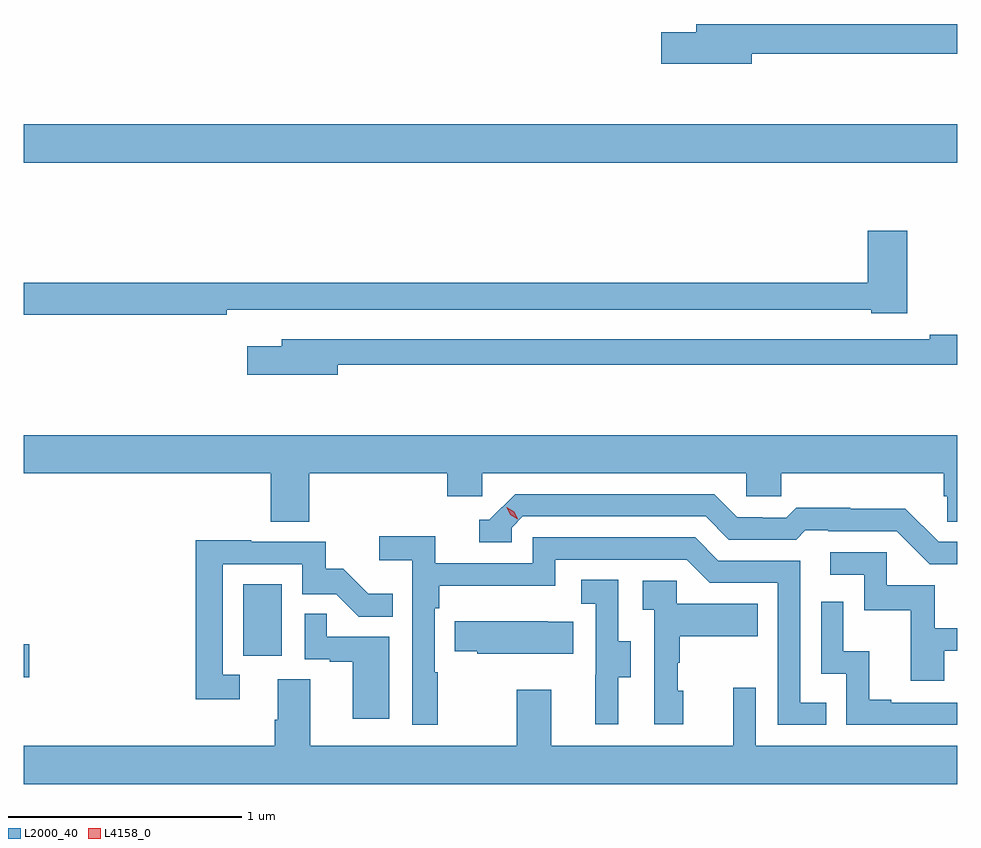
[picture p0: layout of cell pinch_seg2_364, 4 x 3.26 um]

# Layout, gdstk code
import gdstk
lib = gdstk.Library(unit=1e-6, precision=1e-09)
def R(c, l, rs):  # rectangles x0, y0, x1, y1
    for r in rs: c.add(gdstk.rectangle(r[:2], r[2:], *l))
def P(c, l, *ps):  # polygons
    for p in ps: c.add(gdstk.Polygon(p, *l))
L2000_40 = (2000, 40)
L4158_0 = (4158, 0)

pinch_seg2_364 = lib.new_cell('pinch_seg2_364')
R(pinch_seg2_364, L2000_40, [(1007.757,612.13,1007.779,612.272), (1008.698,612.222,1008.862,612.529), (1007.757,614.336,1011.757,614.5)])
P(pinch_seg2_364, L2000_40, [(1010.878,614.802),(1011.757,614.802),(1011.757,614.93),(1010.639,614.93),(1010.639,614.894),(1010.49,614.894),(1010.49,614.759),(1010.878,614.759)],
  [(1008.626,613.704),(1011.39,613.704),(1011.39,613.691),(1011.544,613.691),(1011.544,614.044),(1011.374,614.044),(1011.374,613.82),(1007.757,613.82),(1007.757,613.684),(1008.626,613.684)],
  [(1009.102,613.47),(1011.757,613.47),(1011.757,613.598),(1011.64,613.598),(1011.64,613.578),(1008.863,613.578),(1008.863,613.549),(1008.714,613.549),(1008.714,613.427),(1009.102,613.427)],
  [(1008.98,613.004),(1009.571,613.004),(1009.571,612.906),(1009.722,612.906),(1009.722,613.004),(1010.853,613.004),(1010.853,612.906),(1011.003,612.906),(1011.003,613.004),(1011.701,613.004),(1011.701,612.906),(1011.715,612.906),(1011.715,612.796),(1011.757,612.796),(1011.757,613.168),(1007.757,613.168),(1007.757,613.004),(1008.815,613.004),(1008.815,612.796),(1008.98,612.796)],
  [(1011.757,612.711),(1011.678,612.711),(1011.536,612.853),(1011.3,612.853),(1011.3,612.856),(1011.067,612.856),(1011.025,612.813),(1010.922,612.813),(1010.922,612.816),(1010.815,612.816),(1010.716,612.915),(1009.863,612.915),(1009.752,612.804),(1009.709,612.804),(1009.709,612.708),(1009.848,612.708),(1009.848,612.771),(1009.896,612.819),(1010.679,612.819),(1010.778,612.72),(1011.067,612.72),(1011.106,612.759),(1011.205,612.759),(1011.205,612.756),(1011.498,612.756),(1011.639,612.615),(1011.757,612.615)],
  [(1009.531,612.152),(1009.518,612.152),(1009.518,612.425),(1009.538,612.425),(1009.538,612.521),(1010.034,612.521),(1010.034,612.633),(1010.598,612.633),(1010.697,612.534),(1010.988,612.534),(1010.988,611.925),(1011.197,611.925),(1011.197,612.021),(1011.084,612.021),(1011.084,612.63),(1010.734,612.63),(1010.635,612.729),(1009.938,612.729),(1009.938,612.618),(1009.52,612.618),(1009.52,612.734),(1009.281,612.734),(1009.281,612.632),(1009.422,612.632),(1009.422,611.925),(1009.531,611.925)],
  [(1008.682,612.141),(1008.609,612.141),(1008.609,612.615),(1008.951,612.615),(1008.951,612.486),(1009.095,612.486),(1009.193,612.388),(1009.337,612.388),(1009.337,612.487),(1009.233,612.487),(1009.126,612.594),(1009.05,612.594),(1009.05,612.711),(1008.731,612.711),(1008.731,612.716),(1008.493,612.716),(1008.493,612.036),(1008.682,612.036)],
  [(1011.703,612.243),(1011.757,612.243),(1011.757,612.339),(1011.661,612.339),(1011.661,612.525),(1011.456,612.525),(1011.456,612.666),(1011.213,612.666),(1011.213,612.57),(1011.36,612.57),(1011.36,612.417),(1011.559,612.417),(1011.559,612.114),(1011.703,612.114)],
  [(1010.305,612.13),(1010.359,612.13),(1010.359,612.285),(1010.304,612.285),(1010.304,612.548),(1010.145,612.548),(1010.145,612.445),(1010.208,612.445),(1010.208,612.141),(1010.207,612.141),(1010.207,611.928),(1010.305,611.928)],
  [(1010.584,612.072),(1010.559,612.072),(1010.559,612.191),(1010.569,612.191),(1010.569,612.305),(1010.903,612.305),(1010.903,612.445),(1010.556,612.445),(1010.556,612.543),(1010.409,612.543),(1010.409,612.419),(1010.46,612.419),(1010.46,611.928),(1010.584,611.928)],
  [(1011.757,612.021),(1011.475,612.021),(1011.475,612.034),(1011.38,612.034),(1011.38,612.242),(1011.27,612.242),(1011.27,612.454),(1011.174,612.454),(1011.174,612.144),(1011.282,612.144),(1011.282,611.925),(1011.757,611.925)],
  [(1009.324,612.303),(1009.055,612.303),(1009.055,612.401),(1008.96,612.401),(1008.96,612.207),(1009.067,612.207),(1009.067,612.195),(1009.166,612.195),(1009.166,611.952),(1009.324,611.952)],
  [(1010.111,612.367),(1010.003,612.367),(1010.003,612.37),(1009.603,612.37),(1009.603,612.241),(1009.701,612.241),(1009.701,612.23),(1010.111,612.23)],
  [(1011.757,611.836),(1010.895,611.836),(1010.895,612.085),(1010.798,612.085),(1010.798,611.836),(1010.017,611.836),(1010.017,612.076),(1009.87,612.076),(1009.87,611.836),(1008.985,611.836),(1008.985,612.122),(1008.845,612.122),(1008.845,611.948),(1008.833,611.948),(1008.833,611.836),(1007.757,611.836),(1007.757,611.672),(1011.757,611.672)])
P(pinch_seg2_364, L4158_0, [(1009.873,612.806),(1009.842,612.826),(1009.827,612.859),(1009.827,612.859),(1009.827,612.859),(1009.858,612.839),(1009.873,612.806),(1009.873,612.806)])

lib.write_gds('pinch_seg2_364.gds')
